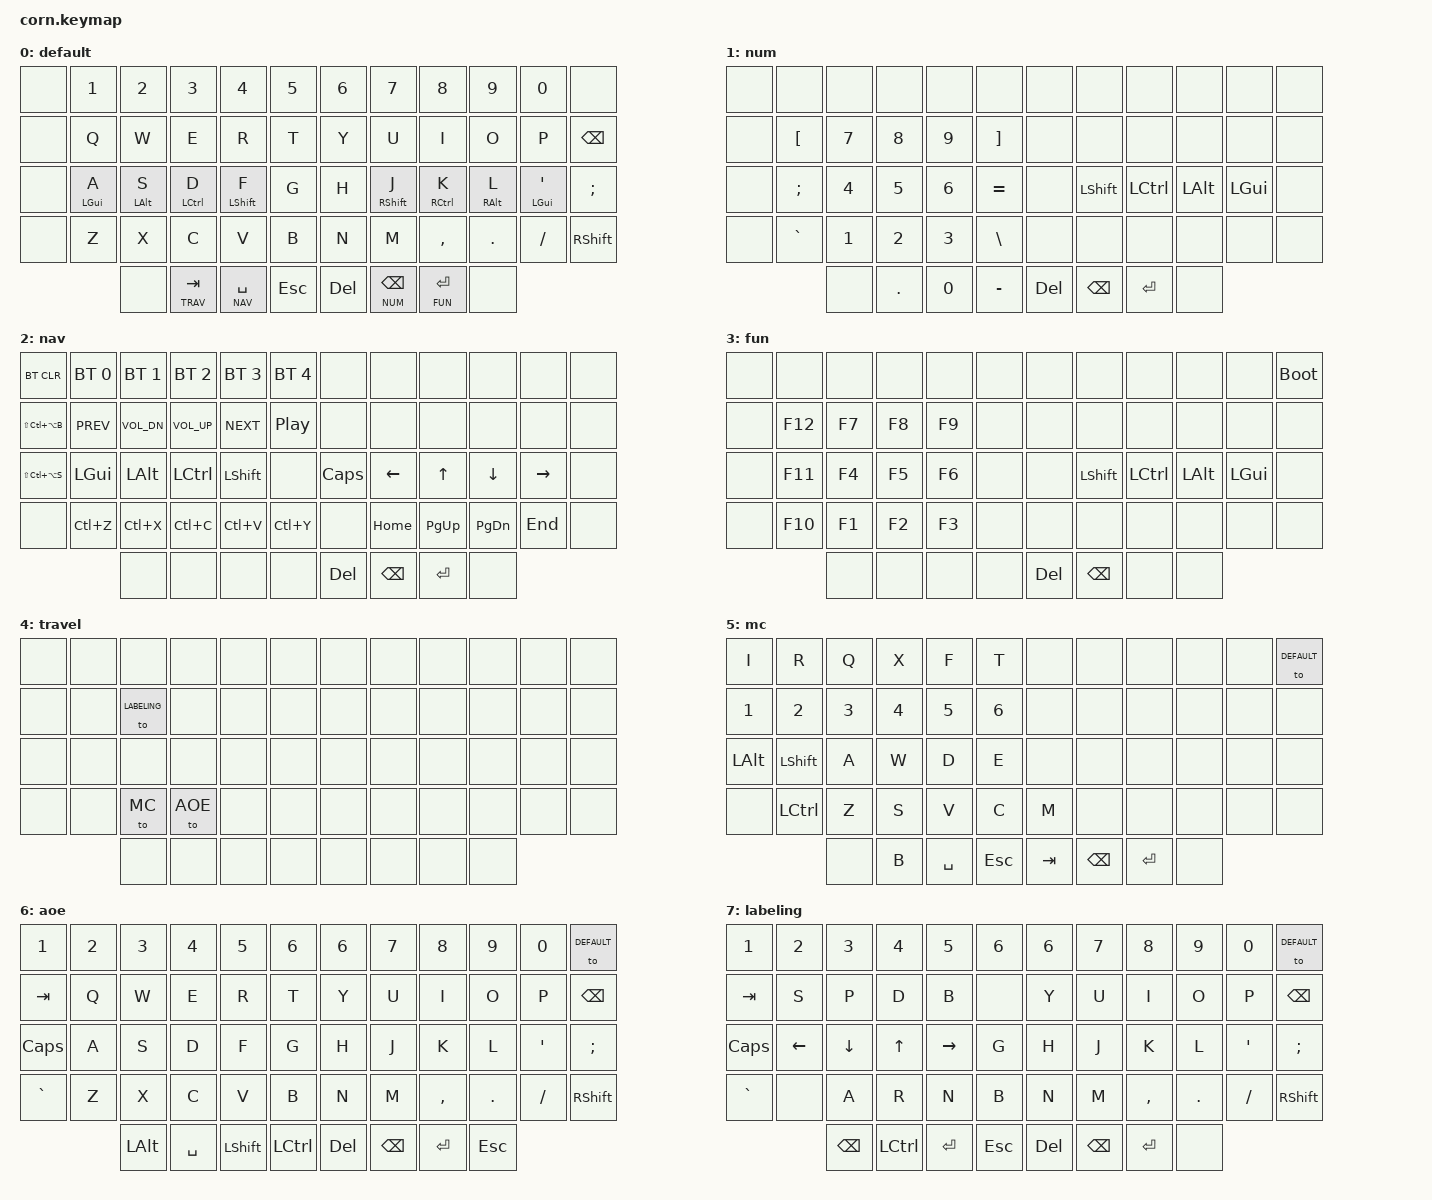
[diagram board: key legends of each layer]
#include <behaviors.dtsi>
#include <dt-bindings/zmk/keys.h>
#include <dt-bindings/zmk/bt.h>

#define DEFAULT 0
#define NUM 1 
#define NAV 2
#define FUN 3
#define TRAV 4 
#define MC 5
#define AOE 6
#define LABELING 7
#define DEEPROCK 8

&mt {
    tapping-term-ms = <200>;
    quick-tap-ms = <200>;
    require-prior-idle-ms = <125>;
    flavor = "balanced";
};

/ {
    keymap {
        compatible = "zmk,keymap";

        default_layer {
            display-name = "default";
            bindings = <
// op  pink        ring        mid           ind            i ind           i ind      ind           mid            ring        pink          op                      
&none  &kp N1      &kp N2      &kp N3        &kp N4         &kp N5          &kp N6     &kp N7        &kp N8         &kp N9      &kp N0        &none       //num
&none  &kp Q       &kp W       &kp E         &kp R          &kp T           &kp Y      &kp U         &kp I          &kp O       &kp P         &kp BSPC    //top
&none  &mt LGUI A  &mt LALT S  &mt LCTRL D   &mt LSHFT F    &kp G           &kp H      &mt RSHFT J   &mt RCTRL K    &mt RALT L  &mt LGUI SQT  &kp SEMI    //mid 
&none  &kp Z       &kp X       &kp C         &kp V          &kp B           &kp N      &kp M         &kp COMMA      &kp DOT     &kp FSLH      &kp RSHFT   //bot 
                   &none       &lt TRAV TAB  &lt NAV SPACE  &kp ESC         &kp DEL    &lt NUM BSPC  &lt FUN ENTER  &none
            >;
        };

        num_layer {
            display-name = "num";
            bindings = <
// op       pink          ring          mid           ind           i ind             i ind    ind        mid        ring     pink     op            
&none       &none         &none         &none         &none         &none             &none    &none      &none      &none    &none    &none   //num
&none       &kp LBKT      &kp N7        &kp N8        &kp N9        &kp RBKT          &none    &none      &none      &none    &none    &none   //top
&none       &kp SEMI      &kp N4        &kp N5        &kp N6        &kp EQUAL         &none    &kp LSHIFT &kp LCTRL  &kp LALT &kp LGUI &none   //mid
&none       &kp GRAVE     &kp N1        &kp N2        &kp N3        &kp BSLH          &none    &none      &none      &none    &none    &none   //bot 
                          &none         &kp DOT       &kp N0        &kp MINUS         &kp DEL  &kp BSPC   &kp RET    &none
            >;
        };

        nav_layer {
            display-name = "nav";
            bindings = <
// op              pink          ring          mid           ind           i ind                i ind    ind       mid        ring       pink       op
&bt BT_CLR         &bt BT_SEL 0  &bt BT_SEL 1  &bt BT_SEL 2  &bt BT_SEL 3   &bt BT_SEL 4        &none    &none     &none      &none      &none      &none   //num
&kp LS(LC(LA(B)))  &kp C_PREV    &kp C_VOL_DN  &kp C_VOL_UP  &kp C_NEXT    &kp C_PP             &none    &none     &none      &none      &none      &none   //top
&kp LS(LC(LA(S)))  &kp LGUI      &kp LALT      &kp LCTRL     &kp LSHIFT    &none                &kp CAPS &kp LEFT  &kp UP     &kp DOWN   &kp RIGHT  &none   //mid
&none              &kp LC(Z)     &kp LC(X)     &kp LC(C)     &kp LC(V)     &kp LC(Y)            &none    &kp HOME  &kp PG_UP  &kp PG_DN  &kp END    &none   //bot
                                 &none         &none         &none         &none                &kp DEL  &kp BSPC  &kp RET    &none
            >;
        };

        fun_layer {
            display-name = "fun";
            bindings = <
// op       pink            ring          mid           ind            i ind                 i ind    ind        mid        ring      pink       op
&none       &none           &none         &none         &none          &none                 &none    &none      &none      &none     &none      &bootloader //num
&none       &kp F12         &kp F7        &kp F8        &kp F9         &none                 &none    &none      &none      &none     &none      &none       //top
&none       &kp F11         &kp F4        &kp F5        &kp F6         &none                 &none    &kp LSHFT  &kp LCTRL  &kp LALT  &kp LGUI   &none       //mid
&none       &kp F10         &kp F1        &kp F2        &kp F3         &none                 &none    &none      &none      &none     &none      &none       //bot
                            &none         &none         &none          &none                 &kp DEL  &kp BSPC   &none      &none
            >;
        };

        travel_layer {
            display-name = "travel";
            bindings = <
// op        pink         ring         mid        ind         i ind           i ind    ind         mid           ring          pink        op
&none        &none        &none        &none      &none       &none           &none    &none       &none         &none         &none       &none   //num
&none        &none        &to LABELING &none      &none       &none           &none    &none       &none         &none         &none       &none   //top
&none        &none        &none        &none      &none       &none           &none    &none       &none         &none         &none       &none   //mid
&none        &none        &to MC       &to AOE    &none       &none           &none    &none       &none         &none         &none       &none   //bot
                          &none        &none      &none       &none           &none    &none       &none         &none
            >;
        };

        minecraft_layer {
            display-name = "mc";
            bindings = <
// op        pink         ring      mid        ind         i ind           i ind    ind         mid           ring          pink        op
&kp I        &kp R        &kp Q     &kp X      &kp F       &kp T           &none    &none       &none         &none         &none       &to DEFAULT  //num
&kp N1       &kp N2       &kp N3    &kp N4     &kp N5      &kp N6          &none    &none       &none         &none         &none       &none        //top
&kp LALT     &kp LSHFT    &kp A     &kp W      &kp D       &kp E           &none    &none       &none         &none         &none       &none        //mid
&none        &kp LCTRL    &kp Z     &kp S      &kp V       &kp C           &kp M    &none       &none         &none         &none       &none        //bot
                          &none     &kp B      &kp SPACE   &kp ESC         &kp TAB  &kp BSPC    &kp RET       &none
            >;
        };

        aoec_layer {
            display-name = "aoe";
            bindings = <
// op        pink         ring      mid        ind         i ind           i ind     ind        mid         ring      pink       op
&kp N1       &kp N2       &kp N3    &kp N4     &kp N5      &kp N6          &kp N6    &kp N7     &kp N8      &kp N9    &kp N0     &to DEFAULT //num
&kp TAB      &kp Q        &kp W     &kp E      &kp R       &kp T           &kp Y     &kp U      &kp I       &kp O     &kp P      &kp BSPC    //top
&kp CAPS     &kp A        &kp S     &kp D      &kp F       &kp G           &kp H     &kp J      &kp K       &kp L     &kp SQT    &kp SEMI    //mid 
&kp GRAVE    &kp Z        &kp X     &kp C      &kp V       &kp B           &kp N     &kp M      &kp COMMA   &kp DOT   &kp FSLH   &kp RSHFT   //bot 
                          &kp LALT  &kp SPACE  &kp LSHIFT  &kp LCTRL       &kp DEL   &kp BSPC   &kp RET     &kp ESC
            >;
        };

        labeling_layer {
            display-name = "labeling";
            bindings = <
// op        pink         ring      mid        ind         i ind           i ind     ind        mid         ring      pink       op
&kp N1       &kp N2       &kp N3    &kp N4     &kp N5      &kp N6          &kp N6    &kp N7     &kp N8      &kp N9    &kp N0     &to DEFAULT //num
&kp TAB      &kp S        &kp P     &kp D      &kp B       &none           &kp Y     &kp U      &kp I       &kp O     &kp P      &kp BSPC    //top
&kp CAPS     &kp LEFT     &kp DOWN  &kp UP     &kp RIGHT   &kp G           &kp H     &kp J      &kp K       &kp L     &kp SQT    &kp SEMI    //mid 
&kp GRAVE    &none        &kp A     &kp R      &kp N       &kp B           &kp N     &kp M      &kp COMMA   &kp DOT   &kp FSLH   &kp RSHFT   //bot 
                          &kp BSPC  &kp LCTRL  &kp RET     &kp ESC         &kp DEL   &kp BSPC   &kp RET     &none
            >;
        };
    };
};
